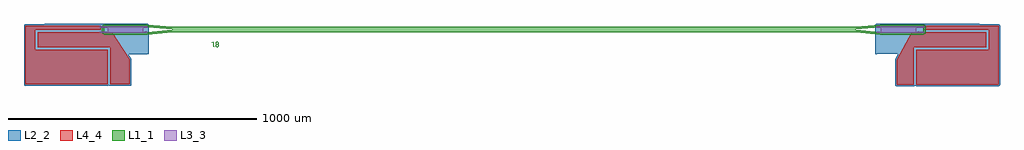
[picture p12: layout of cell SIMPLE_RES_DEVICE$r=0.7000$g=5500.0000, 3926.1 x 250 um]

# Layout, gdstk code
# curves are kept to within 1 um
import gdstk
lib = gdstk.Library(unit=1e-6, precision=1e-10)
def P(c, l, *ps):  # polygons
    for p in ps: c.add(gdstk.Polygon(p, *l))
L1_1 = (1, 1)
L2_2 = (2, 2)
L3_3 = (3, 3)
L4_4 = (4, 4)

simple_res_device_r_0_70 = lib.new_cell('SIMPLE_RES_DEVICE$r=0.7000$g=5500.0000')
P(simple_res_device_r_0_70, L1_1, [(-5830.848,-15.25),(-5837.1919,-12.9801),(-5840.6559,-7.2009),(-5840.6559,16.7009),(-5837.9191,21.8211),(-5832.7989,24.5579),(-5658.048,24.75),(-5557.579,15.35),(-4183.4,15.35),(-4183.4,5.35),(-5558.048,5.35),(-5658.048,14.75),(-5830.848,14.75),(-5830.848,-5.25),(-5658.048,-5.25),(-5558.048,4.15),(-4183.4,4.15),(-4183.4,-5.85),(-5557.579,-5.85),(-5658.048,-15.25)],
  [(-2708.752,-15.25),(-2809.221,-5.85),(-4183.4,-5.85),(-4183.4,4.15),(-2808.752,4.15),(-2708.752,-5.25),(-2535.952,-5.25),(-2535.952,14.75),(-2708.752,14.75),(-2808.752,5.35),(-4183.4,5.35),(-4183.4,15.35),(-2809.221,15.35),(-2708.752,24.75),(-2535.952,24.75),(-2529.6081,22.4801),(-2526.3826,17.6528),(-2525.952,-5.25),(-2528.8809,-12.3211),(-2532.1252,-14.4888)],
  [(-5377.429,-65.518),(-5380.283,-65.028),(-5381.397,-64.428),(-5382.101,-63.692),(-5382.551,-62.744),(-5382.567,-56.654),(-5382.133,-55.732),(-5381.303,-54.986),(-5380.005,-54.424),(-5381.263,-53.996),(-5382.005,-53.236),(-5382.511,-51.086),(-5382.511,-48.03),(-5382.227,-47.036),(-5381.651,-46.168),(-5380.805,-45.536),(-5379.785,-45.136),(-5377.429,-44.818),(-5377.429,-46.21),(-5379.113,-46.502),(-5380.069,-46.986),(-5380.725,-47.788),(-5380.963,-48.898),(-5380.963,-51.752),(-5380.337,-52.788),(-5379.453,-53.45),(-5378.433,-53.768),(-5375.761,-53.808),(-5374.733,-53.598),(-5373.777,-53.054),(-5373.089,-52.146),(-5372.899,-48.568),(-5373.295,-47.502),(-5374.125,-46.772),(-5376.417,-46.21),(-5376.417,-44.818),(-5375.729,-44.852),(-5373.619,-45.28),(-5372.575,-45.836),(-5371.833,-46.654),(-5371.413,-47.628),(-5371.303,-51.5),(-5371.515,-52.496),(-5371.983,-53.432),(-5372.749,-54.102),(-5373.841,-54.424),(-5372.543,-54.986),(-5371.721,-55.732),(-5371.287,-56.654),(-5371.153,-62.24),(-5371.477,-63.22),(-5372.133,-64.144),(-5373.073,-64.81),(-5374.157,-65.21),(-5376.417,-65.518),(-5376.417,-64.152),(-5375.057,-63.96),(-5373.991,-63.524),(-5373.183,-62.852),(-5372.717,-61.868),(-5372.717,-57.174),(-5373.295,-56.172),(-5374.211,-55.492),(-5375.349,-55.188),(-5378.227,-55.166),(-5379.437,-55.414),(-5380.307,-55.916),(-5380.923,-56.734),(-5381.145,-57.744),(-5381.145,-62.17),(-5380.457,-63.086),(-5379.485,-63.72),(-5377.429,-64.152)],
  [(-5398.401,-65.22),(-5398.401,-63.87),(-5393.089,-63.87),(-5393.089,-46.736),(-5398.401,-48.1),(-5398.401,-46.7),(-5391.605,-44.946),(-5391.605,-63.87),(-5386.153,-63.87),(-5386.153,-63.87),(-5386.153,-65.22)])
P(simple_res_device_r_0_70, L2_2, [(-2643.952,-222.5),(-2647.7584,-221.1381),(-2649.9231,-217.0881),(-2649.952,-116.5),(-2638.8806,-94.5),(-2723.952,-94.5),(-2728.9408,-91.8334),(-2729.952,21.5),(-2726.7804,26.7915),(-2313.952,27.5),(-2309.4894,25.5),(-2233.3639,25.4711),(-2228.6605,22.3284),(-2227.952,-216.5),(-2231.1236,-221.7915),(-2563.952,-222.5),(-2568.952,-219.8148),(-2573.952,-222.5)],
  [(-6148.048,-221.5),(-6152.2906,-219.7426),(-6154.048,-215.5),(-6154.048,19.5),(-6150.8764,24.7915),(-6072.5106,25.5),(-6068.048,27.5),(-5658.048,27.5),(-5652.7565,24.3284),(-5652.048,-88.5),(-5653.0592,-91.8334),(-5658.048,-94.5),(-5734.2998,-94.5),(-5722.0747,-114.9341),(-5722.048,-215.5),(-5725.2196,-220.7915),(-5808.048,-221.5),(-5813.048,-218.8148),(-5818.048,-221.5)])
P(simple_res_device_r_0_70, L3_3, [(-2723.952,-8),(-2723.952,-3),(-2708.197,-3),(-2708.197,11.75),(-2707.752,11.75),(-2707.752,-3),(-2707.752,-3),(-2706.397,-3),(-2706.397,11.75),(-2705.952,11.75),(-2705.952,-3),(-2704.597,-3),(-2704.597,11.75),(-2704.152,11.75),(-2704.152,-3),(-2702.797,-3),(-2702.797,11.75),(-2702.352,11.75),(-2702.352,-3),(-2700.997,-3),(-2700.997,11.75),(-2700.552,11.75),(-2700.552,-3),(-2699.197,-3),(-2699.197,11.75),(-2698.752,11.75),(-2698.752,-3),(-2697.397,-3),(-2697.397,11.75),(-2696.952,11.75),(-2696.952,-3),(-2695.597,-3),(-2695.597,11.75),(-2695.152,11.75),(-2695.152,-3),(-2693.797,-3),(-2693.797,11.75),(-2693.352,11.75),(-2693.352,-3),(-2691.997,-3),(-2691.997,11.75),(-2691.552,11.75),(-2691.552,-3),(-2690.197,-3),(-2690.197,11.75),(-2689.752,11.75),(-2689.752,-3),(-2688.397,-3),(-2688.397,11.75),(-2687.952,11.75),(-2687.952,-3),(-2686.597,-3),(-2686.597,11.75),(-2686.152,11.75),(-2686.152,-3),(-2684.797,-3),(-2684.797,11.75),(-2684.352,11.75),(-2684.352,-3),(-2682.997,-3),(-2682.997,11.75),(-2682.552,11.75),(-2682.552,-3),(-2681.197,-3),(-2681.197,11.75),(-2680.752,11.75),(-2680.752,-3),(-2679.397,-3),(-2679.397,11.75),(-2678.952,11.75),(-2678.952,-3),(-2677.597,-3),(-2677.597,11.75),(-2677.152,11.75),(-2677.152,-3),(-2675.797,-3),(-2675.797,11.75),(-2675.352,11.75),(-2675.352,-3),(-2673.997,-3),(-2673.997,11.75),(-2673.552,11.75),(-2673.552,-3),(-2672.197,-3),(-2672.197,11.75),(-2671.752,11.75),(-2671.752,-3),(-2670.397,-3),(-2670.397,11.75),(-2669.952,11.75),(-2669.952,-3),(-2668.597,-3),(-2668.597,11.75),(-2668.152,11.75),(-2668.152,-3),(-2666.797,-3),(-2666.797,11.75),(-2666.352,11.75),(-2666.352,-3),(-2664.997,-3),(-2664.997,11.75),(-2664.552,11.75),(-2664.552,-3),(-2663.197,-3),(-2663.197,11.75),(-2662.752,11.75),(-2662.752,-3),(-2661.397,-3),(-2661.397,11.75),(-2660.952,11.75),(-2660.952,-3),(-2659.597,-3),(-2659.597,11.75),(-2659.152,11.75),(-2659.152,-3),(-2657.797,-3),(-2657.797,11.75),(-2657.352,11.75),(-2657.352,-3),(-2655.997,-3),(-2655.997,11.75),(-2655.552,11.75),(-2655.552,-3),(-2654.197,-3),(-2654.197,11.75),(-2653.752,11.75),(-2653.752,-3),(-2652.397,-3),(-2652.397,11.75),(-2651.952,11.75),(-2651.952,-3),(-2650.597,-3),(-2650.597,11.75),(-2650.152,11.75),(-2650.152,-3),(-2648.797,-3),(-2648.797,11.75),(-2648.352,11.75),(-2648.352,-3),(-2646.997,-3),(-2646.997,11.75),(-2646.552,11.75),(-2646.552,-3),(-2645.197,-3),(-2645.197,11.75),(-2644.752,11.75),(-2644.752,-3),(-2643.397,-3),(-2643.397,11.75),(-2642.952,11.75),(-2642.952,-3),(-2641.597,-3),(-2641.597,11.75),(-2641.152,11.75),(-2641.152,-3),(-2639.797,-3),(-2639.797,11.75),(-2639.352,11.75),(-2639.352,-3),(-2637.997,-3),(-2637.997,11.75),(-2637.552,11.75),(-2637.552,-3),(-2636.197,-3),(-2636.197,11.75),(-2635.752,11.75),(-2635.752,-3),(-2634.397,-3),(-2634.397,11.75),(-2633.952,11.75),(-2633.952,-3),(-2632.597,-3),(-2632.597,11.75),(-2632.152,11.75),(-2632.152,-3),(-2630.797,-3),(-2630.797,11.75),(-2630.352,11.75),(-2630.352,-3),(-2628.997,-3),(-2628.997,11.75),(-2628.552,11.75),(-2628.552,-3),(-2627.197,-3),(-2627.197,11.75),(-2626.752,11.75),(-2626.752,-3),(-2625.397,-3),(-2625.397,11.75),(-2624.952,11.75),(-2624.952,-3),(-2623.597,-3),(-2623.597,11.75),(-2623.152,11.75),(-2623.152,-3),(-2621.797,-3),(-2621.797,11.75),(-2621.352,11.75),(-2621.352,-3),(-2619.997,-3),(-2619.997,11.75),(-2619.552,11.75),(-2619.552,-3),(-2618.197,-3),(-2618.197,11.75),(-2617.752,11.75),(-2617.752,-3),(-2616.397,-3),(-2616.397,11.75),(-2615.952,11.75),(-2615.952,-3),(-2614.597,-3),(-2614.597,11.75),(-2614.152,11.75),(-2614.152,-3),(-2612.797,-3),(-2612.797,11.75),(-2612.352,11.75),(-2612.352,-3),(-2610.997,-3),(-2610.997,11.75),(-2610.552,11.75),(-2610.552,-3),(-2609.197,-3),(-2609.197,11.75),(-2608.752,11.75),(-2608.752,-3),(-2607.397,-3),(-2607.397,11.75),(-2606.952,11.75),(-2606.952,-3),(-2605.597,-3),(-2605.597,11.75),(-2605.152,11.75),(-2605.152,-3),(-2603.797,-3),(-2603.797,11.75),(-2603.352,11.75),(-2603.352,-3),(-2601.997,-3),(-2601.997,11.75),(-2601.552,11.75),(-2601.552,-3),(-2600.197,-3),(-2600.197,11.75),(-2599.752,11.75),(-2599.752,-3),(-2598.397,-3),(-2598.397,11.75),(-2597.952,11.75),(-2597.952,-3),(-2596.597,-3),(-2596.597,11.75),(-2596.152,11.75),(-2596.152,-3),(-2594.797,-3),(-2594.797,11.75),(-2594.352,11.75),(-2594.352,-3),(-2592.997,-3),(-2592.997,11.75),(-2592.552,11.75),(-2592.552,-3),(-2591.197,-3),(-2591.197,11.75),(-2590.752,11.75),(-2590.752,-3),(-2589.397,-3),(-2589.397,11.75),(-2588.952,11.75),(-2588.952,-3),(-2587.597,-3),(-2587.597,11.75),(-2587.152,11.75),(-2587.152,-3),(-2585.797,-3),(-2585.797,11.75),(-2585.352,11.75),(-2585.352,-3),(-2583.997,-3),(-2583.997,11.75),(-2583.552,11.75),(-2583.552,-3),(-2582.197,-3),(-2582.197,11.75),(-2581.752,11.75),(-2581.752,-3),(-2580.397,-3),(-2580.397,11.75),(-2579.952,11.75),(-2579.952,-3),(-2578.597,-3),(-2578.597,11.75),(-2578.152,11.75),(-2578.152,-3),(-2576.797,-3),(-2576.797,11.75),(-2576.352,11.75),(-2576.352,-3),(-2574.997,-3),(-2574.997,11.75),(-2574.552,11.75),(-2574.552,-3),(-2573.197,-3),(-2573.197,11.75),(-2572.752,11.75),(-2572.752,-3),(-2571.397,-3),(-2571.397,11.75),(-2570.952,11.75),(-2570.952,-3),(-2569.597,-3),(-2569.597,11.75),(-2569.152,11.75),(-2569.152,-3),(-2567.797,-3),(-2567.797,11.75),(-2567.352,11.75),(-2567.352,-3),(-2565.997,-3),(-2565.997,11.75),(-2565.552,11.75),(-2565.552,-3),(-2531.952,-3),(-2531.952,-8)],
  [(-2707.297,-2.25),(-2707.297,12.5),(-2723.952,12.5),(-2723.952,17.5),(-2531.952,17.5),(-2531.952,12.5),(-2564.652,12.5),(-2564.652,-2.25),(-2565.097,-2.25),(-2565.097,12.5),(-2566.452,12.5),(-2566.452,-2.25),(-2566.897,-2.25),(-2566.897,12.5),(-2568.252,12.5),(-2568.252,-2.25),(-2568.697,-2.25),(-2568.697,12.5),(-2570.052,12.5),(-2570.052,-2.25),(-2570.497,-2.25),(-2570.497,12.5),(-2571.852,12.5),(-2571.852,-2.25),(-2572.297,-2.25),(-2572.297,12.5),(-2573.652,12.5),(-2573.652,-2.25),(-2574.097,-2.25),(-2574.097,12.5),(-2575.452,12.5),(-2575.452,-2.25),(-2575.897,-2.25),(-2575.897,12.5),(-2577.252,12.5),(-2577.252,-2.25),(-2577.697,-2.25),(-2577.697,12.5),(-2579.052,12.5),(-2579.052,-2.25),(-2579.497,-2.25),(-2579.497,12.5),(-2580.852,12.5),(-2580.852,-2.25),(-2581.297,-2.25),(-2581.297,12.5),(-2582.652,12.5),(-2582.652,-2.25),(-2583.097,-2.25),(-2583.097,12.5),(-2584.452,12.5),(-2584.452,-2.25),(-2584.897,-2.25),(-2584.897,12.5),(-2586.252,12.5),(-2586.252,-2.25),(-2586.697,-2.25),(-2586.697,12.5),(-2588.052,12.5),(-2588.052,-2.25),(-2588.497,-2.25),(-2588.497,12.5),(-2589.852,12.5),(-2589.852,-2.25),(-2590.297,-2.25),(-2590.297,12.5),(-2591.652,12.5),(-2591.652,-2.25),(-2592.097,-2.25),(-2592.097,12.5),(-2593.452,12.5),(-2593.452,-2.25),(-2593.897,-2.25),(-2593.897,12.5),(-2595.252,12.5),(-2595.252,-2.25),(-2595.697,-2.25),(-2595.697,12.5),(-2597.052,12.5),(-2597.052,-2.25),(-2597.497,-2.25),(-2597.497,12.5),(-2598.852,12.5),(-2598.852,-2.25),(-2599.297,-2.25),(-2599.297,12.5),(-2600.652,12.5),(-2600.652,-2.25),(-2601.097,-2.25),(-2601.097,12.5),(-2602.452,12.5),(-2602.452,-2.25),(-2602.897,-2.25),(-2602.897,12.5),(-2604.252,12.5),(-2604.252,-2.25),(-2604.697,-2.25),(-2604.697,12.5),(-2606.052,12.5),(-2606.052,-2.25),(-2606.497,-2.25),(-2606.497,12.5),(-2607.852,12.5),(-2607.852,-2.25),(-2608.297,-2.25),(-2608.297,12.5),(-2609.652,12.5),(-2609.652,-2.25),(-2610.097,-2.25),(-2610.097,12.5),(-2611.452,12.5),(-2611.452,-2.25),(-2611.897,-2.25),(-2611.897,12.5),(-2613.252,12.5),(-2613.252,-2.25),(-2613.697,-2.25),(-2613.697,12.5),(-2615.052,12.5),(-2615.052,-2.25),(-2615.497,-2.25),(-2615.497,12.5),(-2616.852,12.5),(-2616.852,-2.25),(-2617.297,-2.25),(-2617.297,12.5),(-2618.652,12.5),(-2618.652,-2.25),(-2619.097,-2.25),(-2619.097,12.5),(-2620.452,12.5),(-2620.452,-2.25),(-2620.897,-2.25),(-2620.897,12.5),(-2622.252,12.5),(-2622.252,-2.25),(-2622.697,-2.25),(-2622.697,12.5),(-2624.052,12.5),(-2624.052,-2.25),(-2624.497,-2.25),(-2624.497,12.5),(-2625.852,12.5),(-2625.852,-2.25),(-2626.297,-2.25),(-2626.297,12.5),(-2627.652,12.5),(-2627.652,-2.25),(-2628.097,-2.25),(-2628.097,12.5),(-2629.452,12.5),(-2629.452,-2.25),(-2629.897,-2.25),(-2629.897,12.5),(-2631.252,12.5),(-2631.252,-2.25),(-2631.697,-2.25),(-2631.697,12.5),(-2633.052,12.5),(-2633.052,-2.25),(-2633.497,-2.25),(-2633.497,12.5),(-2634.852,12.5),(-2634.852,-2.25),(-2635.297,-2.25),(-2635.297,12.5),(-2636.652,12.5),(-2636.652,-2.25),(-2637.097,-2.25),(-2637.097,12.5),(-2638.452,12.5),(-2638.452,-2.25),(-2638.897,-2.25),(-2638.897,12.5),(-2640.252,12.5),(-2640.252,-2.25),(-2640.697,-2.25),(-2640.697,12.5),(-2642.052,12.5),(-2642.052,-2.25),(-2642.497,-2.25),(-2642.497,12.5),(-2643.852,12.5),(-2643.852,-2.25),(-2644.297,-2.25),(-2644.297,12.5),(-2645.652,12.5),(-2645.652,-2.25),(-2646.097,-2.25),(-2646.097,12.5),(-2647.452,12.5),(-2647.452,-2.25),(-2647.897,-2.25),(-2647.897,12.5),(-2649.252,12.5),(-2649.252,-2.25),(-2649.697,-2.25),(-2649.697,12.5),(-2651.052,12.5),(-2651.052,-2.25),(-2651.497,-2.25),(-2651.497,12.5),(-2652.852,12.5),(-2652.852,-2.25),(-2653.297,-2.25),(-2653.297,12.5),(-2654.652,12.5),(-2654.652,-2.25),(-2655.097,-2.25),(-2655.097,12.5),(-2656.452,12.5),(-2656.452,-2.25),(-2656.897,-2.25),(-2656.897,12.5),(-2658.252,12.5),(-2658.252,-2.25),(-2658.697,-2.25),(-2658.697,12.5),(-2660.052,12.5),(-2660.052,-2.25),(-2660.497,-2.25),(-2660.497,12.5),(-2661.852,12.5),(-2661.852,-2.25),(-2662.297,-2.25),(-2662.297,12.5),(-2663.652,12.5),(-2663.652,-2.25),(-2664.097,-2.25),(-2664.097,12.5),(-2665.452,12.5),(-2665.452,-2.25),(-2665.897,-2.25),(-2665.897,12.5),(-2667.252,12.5),(-2667.252,-2.25),(-2667.697,-2.25),(-2667.697,12.5),(-2669.052,12.5),(-2669.052,-2.25),(-2669.497,-2.25),(-2669.497,12.5),(-2670.852,12.5),(-2670.852,-2.25),(-2671.297,-2.25),(-2671.297,12.5),(-2672.652,12.5),(-2672.652,-2.25),(-2673.097,-2.25),(-2673.097,12.5),(-2674.452,12.5),(-2674.452,-2.25),(-2674.897,-2.25),(-2674.897,12.5),(-2676.252,12.5),(-2676.252,-2.25),(-2676.697,-2.25),(-2676.697,12.5),(-2678.052,12.5),(-2678.052,-2.25),(-2678.497,-2.25),(-2678.497,12.5),(-2679.852,12.5),(-2679.852,-2.25),(-2680.297,-2.25),(-2680.297,12.5),(-2681.652,12.5),(-2681.652,-2.25),(-2682.097,-2.25),(-2682.097,12.5),(-2683.452,12.5),(-2683.452,-2.25),(-2683.897,-2.25),(-2683.897,12.5),(-2685.252,12.5),(-2685.252,-2.25),(-2685.697,-2.25),(-2685.697,12.5),(-2687.052,12.5),(-2687.052,-2.25),(-2687.497,-2.25),(-2687.497,12.5),(-2688.852,12.5),(-2688.852,-2.25),(-2689.297,-2.25),(-2689.297,12.5),(-2690.652,12.5),(-2690.652,-2.25),(-2691.097,-2.25),(-2691.097,12.5),(-2692.452,12.5),(-2692.452,-2.25),(-2692.897,-2.25),(-2692.897,-2.25),(-2692.897,12.5),(-2694.252,12.5),(-2694.252,-2.25),(-2694.697,-2.25),(-2694.697,12.5),(-2696.052,12.5),(-2696.052,-2.25),(-2696.497,-2.25),(-2696.497,12.5),(-2697.852,12.5),(-2697.852,-2.25),(-2698.297,-2.25),(-2698.297,12.5),(-2699.652,12.5),(-2699.652,-2.25),(-2700.097,-2.25),(-2700.097,12.5),(-2701.452,12.5),(-2701.452,-2.25),(-2701.897,-2.25),(-2701.897,12.5),(-2703.252,12.5),(-2703.252,-2.25),(-2703.697,-2.25),(-2703.697,12.5),(-2705.052,12.5),(-2705.052,-2.25),(-2705.497,-2.25),(-2705.497,12.5),(-2706.852,12.5),(-2706.852,-2.25)],
  [(-5850.048,-8),(-5850.048,-3),(-5816.448,-3),(-5816.448,11.75),(-5816.003,11.75),(-5816.003,-3),(-5814.648,-3),(-5814.648,11.75),(-5814.203,11.75),(-5814.203,-3),(-5812.848,-3),(-5812.848,11.75),(-5812.403,11.75),(-5812.403,-3),(-5811.048,-3),(-5811.048,11.75),(-5810.603,11.75),(-5810.603,-3),(-5809.248,-3),(-5809.248,11.75),(-5808.803,11.75),(-5808.803,-3),(-5807.448,-3),(-5807.448,11.75),(-5807.003,11.75),(-5807.003,-3),(-5805.648,-3),(-5805.648,11.75),(-5805.203,11.75),(-5805.203,-3),(-5803.848,-3),(-5803.848,11.75),(-5803.403,11.75),(-5803.403,-3),(-5802.048,-3),(-5802.048,11.75),(-5801.603,11.75),(-5801.603,-3),(-5800.248,-3),(-5800.248,11.75),(-5799.803,11.75),(-5799.803,-3),(-5798.448,-3),(-5798.448,11.75),(-5798.003,11.75),(-5798.003,-3),(-5796.648,-3),(-5796.648,11.75),(-5796.203,11.75),(-5796.203,-3),(-5794.848,-3),(-5794.848,11.75),(-5794.403,11.75),(-5794.403,11.75),(-5794.403,-3),(-5793.048,-3),(-5793.048,11.75),(-5792.603,11.75),(-5792.603,-3),(-5791.248,-3),(-5791.248,11.75),(-5790.803,11.75),(-5790.803,-3),(-5789.448,-3),(-5789.448,11.75),(-5789.003,11.75),(-5789.003,-3),(-5787.648,-3),(-5787.648,11.75),(-5787.203,11.75),(-5787.203,-3),(-5785.848,-3),(-5785.848,11.75),(-5785.403,11.75),(-5785.403,-3),(-5784.048,-3),(-5784.048,11.75),(-5783.603,11.75),(-5783.603,-3),(-5782.248,-3),(-5782.248,11.75),(-5781.803,11.75),(-5781.803,-3),(-5780.448,-3),(-5780.448,11.75),(-5780.003,11.75),(-5780.003,-3),(-5778.648,-3),(-5778.648,11.75),(-5778.203,11.75),(-5778.203,-3),(-5776.848,-3),(-5776.848,11.75),(-5776.403,11.75),(-5776.403,-3),(-5775.048,-3),(-5775.048,11.75),(-5774.603,11.75),(-5774.603,-3),(-5773.248,-3),(-5773.248,11.75),(-5772.803,11.75),(-5772.803,-3),(-5771.448,-3),(-5771.448,11.75),(-5771.003,11.75),(-5771.003,-3),(-5769.648,-3),(-5769.648,11.75),(-5769.203,11.75),(-5769.203,-3),(-5767.848,-3),(-5767.848,11.75),(-5767.403,11.75),(-5767.403,-3),(-5766.048,-3),(-5766.048,11.75),(-5765.603,11.75),(-5765.603,-3),(-5764.248,-3),(-5764.248,11.75),(-5763.803,11.75),(-5763.803,-3),(-5762.448,-3),(-5762.448,11.75),(-5762.003,11.75),(-5762.003,-3),(-5760.648,-3),(-5760.648,11.75),(-5760.203,11.75),(-5760.203,-3),(-5758.848,-3),(-5758.848,11.75),(-5758.403,11.75),(-5758.403,-3),(-5757.048,-3),(-5757.048,11.75),(-5756.603,11.75),(-5756.603,-3),(-5755.248,-3),(-5755.248,11.75),(-5754.803,11.75),(-5754.803,-3),(-5753.448,-3),(-5753.448,11.75),(-5753.003,11.75),(-5753.003,-3),(-5751.648,-3),(-5751.648,11.75),(-5751.203,11.75),(-5751.203,-3),(-5749.848,-3),(-5749.848,11.75),(-5749.403,11.75),(-5749.403,-3),(-5748.048,-3),(-5748.048,11.75),(-5747.603,11.75),(-5747.603,-3),(-5746.248,-3),(-5746.248,11.75),(-5745.803,11.75),(-5745.803,-3),(-5744.448,-3),(-5744.448,11.75),(-5744.003,11.75),(-5744.003,-3),(-5742.648,-3),(-5742.648,11.75),(-5742.203,11.75),(-5742.203,-3),(-5740.848,-3),(-5740.848,11.75),(-5740.403,11.75),(-5740.403,-3),(-5739.048,-3),(-5739.048,11.75),(-5738.603,11.75),(-5738.603,-3),(-5737.248,-3),(-5737.248,11.75),(-5736.803,11.75),(-5736.803,-3),(-5735.448,-3),(-5735.448,11.75),(-5735.003,11.75),(-5735.003,-3),(-5733.648,-3),(-5733.648,11.75),(-5733.203,11.75),(-5733.203,-3),(-5731.848,-3),(-5731.848,11.75),(-5731.403,11.75),(-5731.403,-3),(-5730.048,-3),(-5730.048,11.75),(-5729.603,11.75),(-5729.603,-3),(-5728.248,-3),(-5728.248,11.75),(-5727.803,11.75),(-5727.803,-3),(-5726.448,-3),(-5726.448,11.75),(-5726.003,11.75),(-5726.003,-3),(-5724.648,-3),(-5724.648,11.75),(-5724.203,11.75),(-5724.203,-3),(-5722.848,-3),(-5722.848,11.75),(-5722.403,11.75),(-5722.403,-3),(-5721.048,-3),(-5721.048,11.75),(-5720.603,11.75),(-5720.603,-3),(-5719.248,-3),(-5719.248,11.75),(-5718.803,11.75),(-5718.803,-3),(-5717.448,-3),(-5717.448,11.75),(-5717.003,11.75),(-5717.003,-3),(-5715.648,-3),(-5715.648,11.75),(-5715.203,11.75),(-5715.203,-3),(-5713.848,-3),(-5713.848,11.75),(-5713.403,11.75),(-5713.403,-3),(-5712.048,-3),(-5712.048,11.75),(-5711.603,11.75),(-5711.603,-3),(-5710.248,-3),(-5710.248,11.75),(-5709.803,11.75),(-5709.803,-3),(-5708.448,-3),(-5708.448,11.75),(-5708.003,11.75),(-5708.003,-3),(-5706.648,-3),(-5706.648,11.75),(-5706.203,11.75),(-5706.203,-3),(-5704.848,-3),(-5704.848,11.75),(-5704.403,11.75),(-5704.403,-3),(-5703.048,-3),(-5703.048,11.75),(-5702.603,11.75),(-5702.603,-3),(-5701.248,-3),(-5701.248,11.75),(-5700.803,11.75),(-5700.803,-3),(-5699.448,-3),(-5699.448,11.75),(-5699.003,11.75),(-5699.003,-3),(-5697.648,-3),(-5697.648,11.75),(-5697.203,11.75),(-5697.203,-3),(-5695.848,-3),(-5695.848,11.75),(-5695.403,11.75),(-5695.403,-3),(-5694.048,-3),(-5694.048,11.75),(-5693.603,11.75),(-5693.603,-3),(-5692.248,-3),(-5692.248,11.75),(-5691.803,11.75),(-5691.803,-3),(-5690.448,-3),(-5690.448,11.75),(-5690.003,11.75),(-5690.003,-3),(-5688.648,-3),(-5688.648,11.75),(-5688.203,11.75),(-5688.203,-3),(-5686.848,-3),(-5686.848,11.75),(-5686.403,11.75),(-5686.403,-3),(-5685.048,-3),(-5685.048,11.75),(-5684.603,11.75),(-5684.603,-3),(-5683.248,-3),(-5683.248,11.75),(-5682.803,11.75),(-5682.803,-3),(-5681.448,-3),(-5681.448,11.75),(-5681.003,11.75),(-5681.003,-3),(-5679.648,-3),(-5679.648,11.75),(-5679.203,11.75),(-5679.203,-3),(-5677.848,-3),(-5677.848,11.75),(-5677.403,11.75),(-5677.403,-3),(-5676.048,-3),(-5676.048,11.75),(-5675.603,11.75),(-5675.603,-3),(-5674.248,-3),(-5674.248,11.75),(-5673.803,11.75),(-5673.803,-3),(-5658.048,-3),(-5658.048,-8)],
  [(-5817.348,-2.25),(-5817.348,12.5),(-5850.048,12.5),(-5850.048,17.5),(-5658.048,17.5),(-5658.048,12.5),(-5674.703,12.5),(-5674.703,-2.25),(-5675.148,-2.25),(-5675.148,12.5),(-5676.503,12.5),(-5676.503,-2.25),(-5676.948,-2.25),(-5676.948,12.5),(-5678.303,12.5),(-5678.303,-2.25),(-5678.748,-2.25),(-5678.748,12.5),(-5680.103,12.5),(-5680.103,-2.25),(-5680.548,-2.25),(-5680.548,12.5),(-5681.903,12.5),(-5681.903,-2.25),(-5682.348,-2.25),(-5682.348,12.5),(-5683.703,12.5),(-5683.703,-2.25),(-5684.148,-2.25),(-5684.148,12.5),(-5685.503,12.5),(-5685.503,-2.25),(-5685.948,-2.25),(-5685.948,12.5),(-5687.303,12.5),(-5687.303,-2.25),(-5687.748,-2.25),(-5687.748,12.5),(-5689.103,12.5),(-5689.103,-2.25),(-5689.548,-2.25),(-5689.548,12.5),(-5690.903,12.5),(-5690.903,-2.25),(-5691.348,-2.25),(-5691.348,12.5),(-5692.703,12.5),(-5692.703,-2.25),(-5693.148,-2.25),(-5693.148,12.5),(-5694.503,12.5),(-5694.503,-2.25),(-5694.948,-2.25),(-5694.948,12.5),(-5696.303,12.5),(-5696.303,-2.25),(-5696.748,-2.25),(-5696.748,12.5),(-5698.103,12.5),(-5698.103,-2.25),(-5698.548,-2.25),(-5698.548,12.5),(-5699.903,12.5),(-5699.903,-2.25),(-5700.348,-2.25),(-5700.348,12.5),(-5701.703,12.5),(-5701.703,-2.25),(-5702.148,-2.25),(-5702.148,12.5),(-5703.503,12.5),(-5703.503,-2.25),(-5703.948,-2.25),(-5703.948,12.5),(-5705.303,12.5),(-5705.303,-2.25),(-5705.748,-2.25),(-5705.748,12.5),(-5707.103,12.5),(-5707.103,-2.25),(-5707.548,-2.25),(-5707.548,12.5),(-5708.903,12.5),(-5708.903,-2.25),(-5709.348,-2.25),(-5709.348,12.5),(-5710.703,12.5),(-5710.703,-2.25),(-5711.148,-2.25),(-5711.148,12.5),(-5712.503,12.5),(-5712.503,-2.25),(-5712.948,-2.25),(-5712.948,12.5),(-5714.303,12.5),(-5714.303,-2.25),(-5714.748,-2.25),(-5714.748,12.5),(-5716.103,12.5),(-5716.103,-2.25),(-5716.548,-2.25),(-5716.548,12.5),(-5717.903,12.5),(-5717.903,-2.25),(-5718.348,-2.25),(-5718.348,12.5),(-5719.703,12.5),(-5719.703,-2.25),(-5720.148,-2.25),(-5720.148,12.5),(-5721.503,12.5),(-5721.503,-2.25),(-5721.948,-2.25),(-5721.948,12.5),(-5723.303,12.5),(-5723.303,-2.25),(-5723.748,-2.25),(-5723.748,12.5),(-5725.103,12.5),(-5725.103,-2.25),(-5725.548,-2.25),(-5725.548,12.5),(-5726.903,12.5),(-5726.903,-2.25),(-5727.348,-2.25),(-5727.348,12.5),(-5728.703,12.5),(-5728.703,-2.25),(-5729.148,-2.25),(-5729.148,12.5),(-5730.503,12.5),(-5730.503,-2.25),(-5730.948,-2.25),(-5730.948,12.5),(-5732.303,12.5),(-5732.303,-2.25),(-5732.748,-2.25),(-5732.748,12.5),(-5734.103,12.5),(-5734.103,-2.25),(-5734.548,-2.25),(-5734.548,12.5),(-5735.903,12.5),(-5735.903,-2.25),(-5736.348,-2.25),(-5736.348,12.5),(-5737.703,12.5),(-5737.703,-2.25),(-5738.148,-2.25),(-5738.148,12.5),(-5739.503,12.5),(-5739.503,-2.25),(-5739.948,-2.25),(-5739.948,12.5),(-5741.303,12.5),(-5741.303,-2.25),(-5741.748,-2.25),(-5741.748,12.5),(-5743.103,12.5),(-5743.103,-2.25),(-5743.548,-2.25),(-5743.548,12.5),(-5744.903,12.5),(-5744.903,-2.25),(-5745.348,-2.25),(-5745.348,12.5),(-5746.703,12.5),(-5746.703,-2.25),(-5747.148,-2.25),(-5747.148,12.5),(-5748.503,12.5),(-5748.503,-2.25),(-5748.948,-2.25),(-5748.948,12.5),(-5750.303,12.5),(-5750.303,-2.25),(-5750.748,-2.25),(-5750.748,12.5),(-5752.103,12.5),(-5752.103,-2.25),(-5752.548,-2.25),(-5752.548,12.5),(-5753.903,12.5),(-5753.903,-2.25),(-5754.348,-2.25),(-5754.348,12.5),(-5755.703,12.5),(-5755.703,-2.25),(-5756.148,-2.25),(-5756.148,12.5),(-5757.503,12.5),(-5757.503,-2.25),(-5757.948,-2.25),(-5757.948,12.5),(-5759.303,12.5),(-5759.303,-2.25),(-5759.748,-2.25),(-5759.748,12.5),(-5761.103,12.5),(-5761.103,-2.25),(-5761.548,-2.25),(-5761.548,12.5),(-5762.903,12.5),(-5762.903,-2.25),(-5763.348,-2.25),(-5763.348,12.5),(-5764.703,12.5),(-5764.703,-2.25),(-5765.148,-2.25),(-5765.148,12.5),(-5766.503,12.5),(-5766.503,-2.25),(-5766.948,-2.25),(-5766.948,12.5),(-5768.303,12.5),(-5768.303,-2.25),(-5768.748,-2.25),(-5768.748,12.5),(-5770.103,12.5),(-5770.103,-2.25),(-5770.548,-2.25),(-5770.548,12.5),(-5771.903,12.5),(-5771.903,-2.25),(-5772.348,-2.25),(-5772.348,12.5),(-5773.703,12.5),(-5773.703,-2.25),(-5774.148,-2.25),(-5774.148,12.5),(-5775.503,12.5),(-5775.503,-2.25),(-5775.948,-2.25),(-5775.948,12.5),(-5777.303,12.5),(-5777.303,-2.25),(-5777.748,-2.25),(-5777.748,12.5),(-5779.103,12.5),(-5779.103,-2.25),(-5779.548,-2.25),(-5779.548,12.5),(-5780.903,12.5),(-5780.903,-2.25),(-5781.348,-2.25),(-5781.348,12.5),(-5782.703,12.5),(-5782.703,-2.25),(-5783.148,-2.25),(-5783.148,12.5),(-5784.503,12.5),(-5784.503,-2.25),(-5784.948,-2.25),(-5784.948,12.5),(-5786.303,12.5),(-5786.303,-2.25),(-5786.748,-2.25),(-5786.748,12.5),(-5788.103,12.5),(-5788.103,-2.25),(-5788.548,-2.25),(-5788.548,12.5),(-5788.548,12.5),(-5789.903,12.5),(-5789.903,-2.25),(-5790.348,-2.25),(-5790.348,12.5),(-5791.703,12.5),(-5791.703,-2.25),(-5792.148,-2.25),(-5792.148,12.5),(-5793.503,12.5),(-5793.503,-2.25),(-5793.948,-2.25),(-5793.948,12.5),(-5795.303,12.5),(-5795.303,-2.25),(-5795.748,-2.25),(-5795.748,12.5),(-5797.103,12.5),(-5797.103,-2.25),(-5797.548,-2.25),(-5797.548,12.5),(-5798.903,12.5),(-5798.903,-2.25),(-5799.348,-2.25),(-5799.348,12.5),(-5800.703,12.5),(-5800.703,-2.25),(-5801.148,-2.25),(-5801.148,12.5),(-5802.503,12.5),(-5802.503,-2.25),(-5802.948,-2.25),(-5802.948,12.5),(-5804.303,12.5),(-5804.303,-2.25),(-5804.748,-2.25),(-5804.748,12.5),(-5806.103,12.5),(-5806.103,-2.25),(-5806.548,-2.25),(-5806.548,12.5),(-5807.903,12.5),(-5807.903,-2.25),(-5808.348,-2.25),(-5808.348,12.5),(-5809.703,12.5),(-5809.703,-2.25),(-5810.148,-2.25),(-5810.148,12.5),(-5811.503,12.5),(-5811.503,-2.25),(-5811.948,-2.25),(-5811.948,12.5),(-5813.303,12.5),(-5813.303,-2.25),(-5813.748,-2.25),(-5813.748,12.5),(-5815.103,12.5),(-5815.103,-2.25),(-5815.548,-2.25),(-5815.548,12.5),(-5816.903,12.5),(-5816.903,-2.25)])
P(simple_res_device_r_0_70, L4_4, [(-2643.952,-216.5),(-2643.952,-116.5),(-2583.952,-5.5),(-2283.952,-5.5),(-2283.952,-5.5),(-2283.952,-65.5),(-2573.952,-65.5),(-2573.952,-216.5)],
  [(-2563.952,-216.5),(-2563.952,-75.5),(-2273.952,-75.5),(-2273.952,4.5),(-2535.952,4.5),(-2535.952,19.5),(-2233.952,19.5),(-2233.952,19.5),(-2233.952,-216.5)],
  [(-5808.048,-215.5),(-5808.048,-65.5),(-6098.048,-65.5),(-6098.048,-5.5),(-5798.048,-5.5),(-5728.048,-115.5),(-5728.048,-115.5),(-5728.048,-215.5)],
  [(-6148.048,-215.5),(-6148.048,19.5),(-5846.048,19.5),(-5846.048,4.5),(-5846.048,4.5),(-6108.048,4.5),(-6108.048,-75.5),(-5818.048,-75.5),(-5818.048,-215.5)])

lib.write_gds('SIMPLE_RES_DEVICE_r_0.7000_g_5500.0000.gds')
